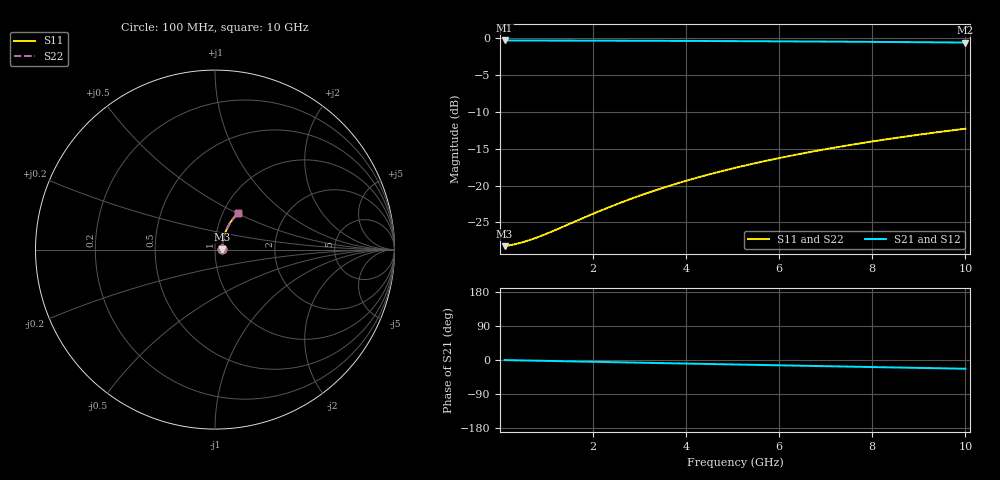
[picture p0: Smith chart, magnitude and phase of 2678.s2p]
# Hz S RI R 50.00
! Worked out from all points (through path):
!   100 points, 100 MHz to 10 GHz, reference 50 ohm
!   highest |S21| = -0.34 dB at 100 MHz (marker M1); lowest = -0.6 dB at 10 GHz (marker M2)
!   group delay of S21, straight-line fit = 6.42 ps
!   lowest |S11| = -28.2 dB at 100 MHz (marker M3), VSWR 1.08, Z = 54 + j0.255 ohm
!   |S11| at or under -10 dB: start of sweep to end of sweep
!   |S22| runs from -28.2 to -12.3 dB; largest |S21 - S12| = 0
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1e8  0.0388 0.00236  0.9612 -0.00396  0.9612 -0.00396  0.0388 0.00236
3e8  0.0393 0.00706  0.9607 -0.0119  0.9607 -0.0119  0.0393 0.00706
4e8  0.0395 0.00941  0.9605 -0.0158  0.9605 -0.0158  0.0395 0.00941
5e8  0.0397 0.0118  0.9603 -0.0198  0.9603 -0.0198  0.0397 0.0118
7e8  0.0401 0.0164  0.9598 -0.0276  0.9598 -0.0276  0.0401 0.0164
9e8  0.0406 0.0211  0.9593 -0.0355  0.9593 -0.0355  0.0406 0.0211
1.1e9  0.0411 0.0258  0.9587 -0.0434  0.9587 -0.0434  0.0411 0.0258
1.8e9  0.0435 0.0421  0.9561 -0.0709  0.9561 -0.0709  0.0435 0.0421
2.2e9  0.0452 0.0513  0.9541 -0.0865  0.9541 -0.0865  0.0452 0.0513
2.6e9  0.0472 0.0604  0.9519 -0.102  0.9519 -0.102  0.0472 0.0604
3e9  0.0495 0.0695  0.9493 -0.1175  0.9493 -0.1175  0.0495 0.0695
3.4e9  0.0521 0.0784  0.9464 -0.1328  0.9464 -0.1328  0.0521 0.0784
3.8e9  0.0549 0.0873  0.9432 -0.1481  0.9432 -0.1481  0.0549 0.0873
4.2e9  0.058 0.096  0.9396 -0.1632  0.9396 -0.1632  0.058 0.096
4.6e9  0.0614 0.1046  0.9358 -0.1783  0.9358 -0.1783  0.0614 0.1046
5.1e9  0.066 0.1152  0.9305 -0.1969  0.9305 -0.1969  0.066 0.1152
5.9e9  0.0743 0.1317  0.9211 -0.2262  0.9211 -0.2262  0.0743 0.1317
6.7e9  0.0835 0.1475  0.9105 -0.2548  0.9105 -0.2548  0.0835 0.1475
7.5e9  0.0936 0.1626  0.8989 -0.2827  0.8989 -0.2827  0.0936 0.1626
8.4e9  0.1061 0.1786  0.8845 -0.3133  0.8845 -0.3133  0.1061 0.1786
9.2e9  0.118 0.192  0.8708 -0.3395  0.8708 -0.3395  0.118 0.192
1e10  0.1306 0.2045  0.8561 -0.3649  0.8561 -0.3649  0.1306 0.2045
